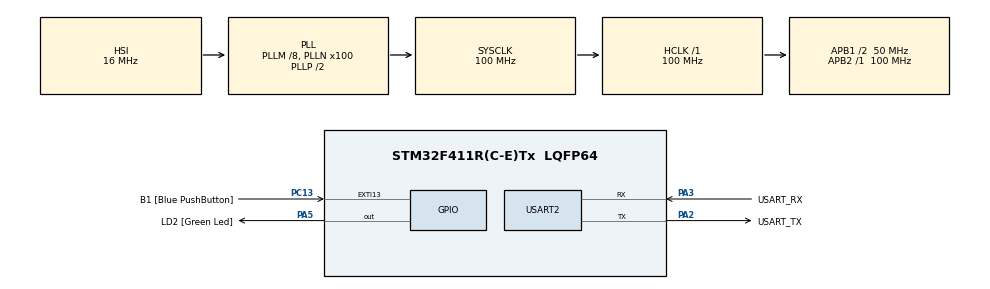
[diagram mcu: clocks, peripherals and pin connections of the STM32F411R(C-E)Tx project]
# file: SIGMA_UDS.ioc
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Mcu.Family=STM32F4
PC15-OSC32_OUT.Mode=LSE-External-Oscillator
RCC.CortexFreq_Value=100000000
PC13-ANTI_TAMP.GPIO_Label=B1 [Blue PushButton]
PA14.GPIO_Label=TCK
PH1\ -\ OSC_OUT.Mode=HSE-External-Clock-Source
RCC.APB1CLKDivider=RCC_HCLK_DIV2
PC14-OSC32_IN.Signal=RCC_OSC32_IN
NVIC.USART2_IRQn=true\:0\:0\:false\:false\:true\:true\:true
RCC.SYSCLKSource=RCC_SYSCLKSOURCE_PLLCLK
ProjectManager.StackSize=0x400
PA13.Signal=SYS_JTMS-SWDIO
PA3.Mode=Asynchronous
PH0\ -\ OSC_IN.Mode=HSE-External-Clock-Source
PH0\ -\ OSC_IN.Signal=RCC_OSC_IN
ProjectManager.TargetToolchain=STM32CubeIDE
RCC.HCLKFreq_Value=100000000
RCC.APB2TimFreq_Value=100000000
PC15-OSC32_OUT.Signal=RCC_OSC32_OUT
RCC.AHBFreq_Value=100000000
NVIC.EXTI15_10_IRQn=true\:0\:0\:false\:false\:true\:true\:true
PA5.Signal=GPIO_Output
RCC.HSE_VALUE=8000000
PH1\ -\ OSC_OUT.Signal=RCC_OSC_OUT
board=NUCLEO-F411RE
PC13-ANTI_TAMP.Signal=GPXTI13
RCC.VCOOutputFreq_Value=200000000
RCC.APB2Freq_Value=100000000
PC14-OSC32_IN.Mode=LSE-External-Oscillator
PA14.Mode=Serial_Wire
PA13.Mode=Serial_Wire
Mcu.Name=STM32F411R(C-E)Tx
PA2.Signal=USART2_TX
PA13.GPIO_Label=TMS
RCC.FLatency-AdvancedSettings=FLASH_LATENCY_3
RCC.48MHZClocksFreq_Value=50000000
PB3.Signal=SYS_JTDO-SWO
RCC.SYSCLKFreq_VALUE=100000000
Mcu.Package=LQFP64
PA5.GPIO_Label=LD2 [Green Led]
USART2.VirtualMode=VM_ASYNC
PC13-ANTI_TAMP.GPIO_ModeDefaultEXTI=GPIO_MODE_IT_FALLING
PA2.GPIO_Label=USART_TX
PA14.Signal=SYS_JTCK-SWCLK
ProjectManager.HeapSize=0x200
RCC.HSI_VALUE=16000000
NVIC.PriorityGroup=NVIC_PRIORITYGROUP_0
RCC.PLLM=8
RCC.PLLN=100
RCC.APB1TimFreq_Value=100000000
PA2.Mode=Asynchronous
RCC.APB1Freq_Value=50000000
PA3.GPIO_Label=USART_RX
PA3.Signal=USART2_RX
PB3.GPIO_Label=SWO

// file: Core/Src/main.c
/* USER CODE BEGIN Header */
/**
  ******************************************************************************
  * @file           : main.c
  * @brief          : Main program body
  ******************************************************************************
  * @attention
  *
  * <h2><center>&copy; Copyright (c) 2026 STMicroelectronics.
  * All rights reserved.</center></h2>
  *
  * This software component is licensed by ST under BSD 3-Clause license,
  * the "License"; You may not use this file except in compliance with the
  * License. You may obtain a copy of the License at:
  *                        opensource.org/licenses/BSD-3-Clause
  *
  ******************************************************************************
  */
/* USER CODE END Header */
#include "main.h"

/* USER CODE BEGIN Includes */
#include "SIGMA_uds.h"
#include "SIGMA_io_control.h"
#include "stdbool.h"
#include "string.h"
/* USER CODE END Includes */

UART_HandleTypeDef huart2;

void SystemClock_Config(void);
static void MX_GPIO_Init(void);
static void MX_USART2_UART_Init(void);

/* USER CODE BEGIN 0 */
volatile uint8_t frame_ready = 0;
uint8_t tx_buf[8];
uint8_t frame[8] = {0};
// variables
uint8_t Ecu_session = DEFAULT_SESSION;
uint8_t speed = 0;
uint8_t temp  = 10;
bool    flag  = false;
/* USER CODE END 0 */

int main(void)
{

  /* MCU Configuration--------------------------------------------------------*/

  /* Reset of all peripherals, Initializes the Flash interface and the Systick. */
  HAL_Init();

  /* Configure the system clock */
  SystemClock_Config();

  /* Initialize all configured peripherals */
  MX_GPIO_Init();
  MX_USART2_UART_Init();
  /* USER CODE BEGIN 2 */
  HAL_UART_Receive_IT(&huart2, frame, 8); // ARM for first time
  /* USER CODE END 2 */

  /* Infinite loop */
  /* USER CODE BEGIN WHILE */
  while (1)
  {
	  if(frame_ready)
	  {
	        frame_ready = 0;
		    SIGMA_UDS_Process(frame, tx_buf);
	  }

	  SIGMA_IOControl_Tick();
	  HAL_Delay(10);
    /* USER CODE END WHILE */

  }
}

void SystemClock_Config(void)
{
  RCC_OscInitTypeDef RCC_OscInitStruct = {0};
  RCC_ClkInitTypeDef RCC_ClkInitStruct = {0};

  /** Configure the main internal regulator output voltage
  */
  __HAL_RCC_PWR_CLK_ENABLE();
  __HAL_PWR_VOLTAGESCALING_CONFIG(PWR_REGULATOR_VOLTAGE_SCALE1);
  /** Initializes the RCC Oscillators according to the specified parameters
  * in the RCC_OscInitTypeDef structure.
  */
  RCC_OscInitStruct.OscillatorType = RCC_OSCILLATORTYPE_HSI;
  RCC_OscInitStruct.HSIState = RCC_HSI_ON;
  RCC_OscInitStruct.HSICalibrationValue = RCC_HSICALIBRATION_DEFAULT;
  RCC_OscInitStruct.PLL.PLLState = RCC_PLL_ON;
  RCC_OscInitStruct.PLL.PLLSource = RCC_PLLSOURCE_HSI;
  RCC_OscInitStruct.PLL.PLLM = 8;
  RCC_OscInitStruct.PLL.PLLN = 100;
  RCC_OscInitStruct.PLL.PLLP = RCC_PLLP_DIV2;
  RCC_OscInitStruct.PLL.PLLQ = 4;
  if (HAL_RCC_OscConfig(&RCC_OscInitStruct) != HAL_OK)
  {
    Error_Handler();
  }
  /** Initializes the CPU, AHB and APB buses clocks
  */
  RCC_ClkInitStruct.ClockType = RCC_CLOCKTYPE_HCLK|RCC_CLOCKTYPE_SYSCLK
                              |RCC_CLOCKTYPE_PCLK1|RCC_CLOCKTYPE_PCLK2;
  RCC_ClkInitStruct.SYSCLKSource = RCC_SYSCLKSOURCE_PLLCLK;
  RCC_ClkInitStruct.AHBCLKDivider = RCC_SYSCLK_DIV1;
  RCC_ClkInitStruct.APB1CLKDivider = RCC_HCLK_DIV2;
  RCC_ClkInitStruct.APB2CLKDivider = RCC_HCLK_DIV1;

  if (HAL_RCC_ClockConfig(&RCC_ClkInitStruct, FLASH_LATENCY_3) != HAL_OK)
  {
    Error_Handler();
  }
}

static void MX_USART2_UART_Init(void)
{

  huart2.Instance = USART2;
  huart2.Init.BaudRate = 115200;
  huart2.Init.WordLength = UART_WORDLENGTH_8B;
  huart2.Init.StopBits = UART_STOPBITS_1;
  huart2.Init.Parity = UART_PARITY_NONE;
  huart2.Init.Mode = UART_MODE_TX_RX;
  huart2.Init.HwFlowCtl = UART_HWCONTROL_NONE;
  huart2.Init.OverSampling = UART_OVERSAMPLING_16;
  if (HAL_UART_Init(&huart2) != HAL_OK)
  {
    Error_Handler();
  }

}

static void MX_GPIO_Init(void)
{
  GPIO_InitTypeDef GPIO_InitStruct = {0};

  /* GPIO Ports Clock Enable */
  __HAL_RCC_GPIOC_CLK_ENABLE();
  __HAL_RCC_GPIOH_CLK_ENABLE();
  __HAL_RCC_GPIOA_CLK_ENABLE();
  __HAL_RCC_GPIOB_CLK_ENABLE();

  /*Configure GPIO pin Output Level */
  HAL_GPIO_WritePin(LD2_GPIO_Port, LD2_Pin, GPIO_PIN_RESET);

  /*Configure GPIO pin : B1_Pin */
  GPIO_InitStruct.Pin = B1_Pin;
  GPIO_InitStruct.Mode = GPIO_MODE_IT_FALLING;
  GPIO_InitStruct.Pull = GPIO_NOPULL;
  HAL_GPIO_Init(B1_GPIO_Port, &GPIO_InitStruct);

  /*Configure GPIO pin : LD2_Pin */
  GPIO_InitStruct.Pin = LD2_Pin;
  GPIO_InitStruct.Mode = GPIO_MODE_OUTPUT_PP;
  GPIO_InitStruct.Pull = GPIO_NOPULL;
  GPIO_InitStruct.Speed = GPIO_SPEED_FREQ_LOW;
  HAL_GPIO_Init(LD2_GPIO_Port, &GPIO_InitStruct);

  /* EXTI interrupt init*/
  HAL_NVIC_SetPriority(EXTI15_10_IRQn, 0, 0);
  HAL_NVIC_EnableIRQ(EXTI15_10_IRQn);

}

/* USER CODE BEGIN 4 */
void HAL_UART_RxCpltCallback(UART_HandleTypeDef *huart)
{
    if (huart->Instance == USART2)
    {
        frame_ready = 1;  //
        HAL_UART_Receive_IT(&huart2, frame, 8); // Re_ARM
    }
}
void HAL_GPIO_EXTI_Callback(uint16_t GPIO_Pin)
{
    if (GPIO_Pin == B1_Pin)
    {
            flag = !flag;
    }
}

/* USER CODE END 4 */

void Error_Handler(void)
{
  __disable_irq();
  while (1)
  {
  }
}

/************************ (C) COPYRIGHT STMicroelectronics *****END OF FILE****/
